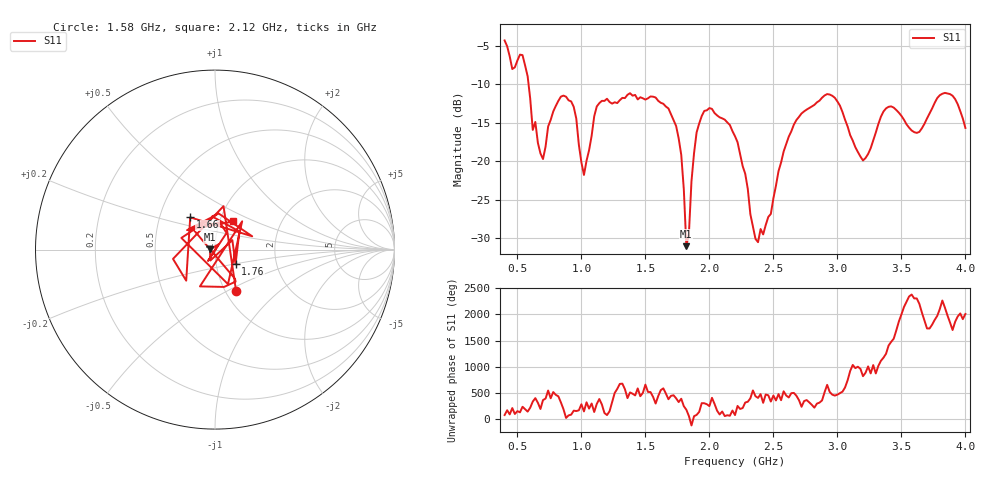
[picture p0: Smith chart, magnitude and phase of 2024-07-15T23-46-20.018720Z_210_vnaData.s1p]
!Created with skrf (http://scikit-rf.org).
# Hz S RI R 50.0
!freq ReS11 ImS11
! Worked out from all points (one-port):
!   181 points, 400 MHz to 4 GHz, reference 50 ohm
!   lowest |S11| = -31.0 dB at 1.82 GHz (marker M1), VSWR 1.06, Z = 47.3 + j0.0775 ohm
!   |S11| at or under -10 dB: 587.1 MHz to end of sweep
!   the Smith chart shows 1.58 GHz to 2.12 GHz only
!   S11 on the Smith chart (normalised r, x): 1.58 GHz: 1.12, -0.56; 1.66 GHz: 0.71, +0.27; 1.76 GHz: 1.24, -0.21; 2.12 GHz: 1.16, +0.38
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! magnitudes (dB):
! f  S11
! 400 MHz  -4.3
! 460 MHz  -8.0
! 540 MHz  -6.2
! 620 MHz  -15.9
! 700 MHz  -19.7
! 860 MHz  -11.5
! 940 MHz  -12.9
! 1.02 GHz  -21.8
! 1.12 GHz  -12.9
! 1.3 GHz  -12.1
! 1.58 GHz  -11.7
! 1.66 GHz  -12.9
! 1.76 GHz  -17.0
! 1.8 GHz  -23.6
! 1.82 GHz  -31.0
! 1.88 GHz  -19.0
! 1.92 GHz  -15.1
! 2.12 GHz  -14.6
! 2.2 GHz  -16.8
! 2.38 GHz  -30.5
! 2.66 GHz  -15.2
! 2.94 GHz  -11.3
! 3.1 GHz  -16.6
! 3.2 GHz  -19.9
! 3.38 GHz  -13.1
! 3.56 GHz  -15.6
! 3.84 GHz  -11.1
! 4 GHz  -15.7
